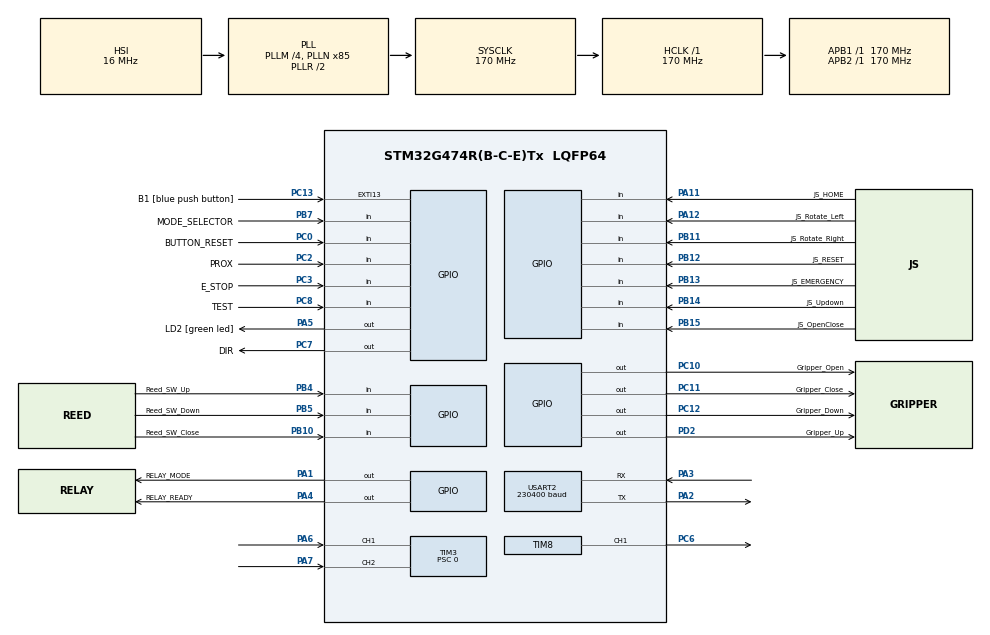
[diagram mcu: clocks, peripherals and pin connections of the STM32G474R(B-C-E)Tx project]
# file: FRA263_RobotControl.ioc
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ARM.CMSIS.5.7.0.CMSISJjCORE=true
ARM.CMSIS.5.7.0.CMSISJjDSP=Library
Dma.Request0=USART2_RX
Dma.Request1=USART2_TX
Dma.USART2_RX.0.Direction=DMA_PERIPH_TO_MEMORY
Dma.USART2_RX.0.EventEnable=DISABLE
Dma.USART2_RX.0.Instance=DMA1_Channel1
Dma.USART2_RX.0.MemDataAlignment=DMA_MDATAALIGN_BYTE
Dma.USART2_RX.0.MemInc=DMA_MINC_ENABLE
Dma.USART2_RX.0.Mode=DMA_NORMAL
Dma.USART2_RX.0.PeriphDataAlignment=DMA_PDATAALIGN_BYTE
Dma.USART2_RX.0.PeriphInc=DMA_PINC_DISABLE
Dma.USART2_RX.0.Polarity=HAL_DMAMUX_REQ_GEN_RISING
Dma.USART2_RX.0.Priority=DMA_PRIORITY_LOW
Dma.USART2_RX.0.RequestNumber=1
Dma.USART2_RX.0.SignalID=NONE
Dma.USART2_RX.0.SyncEnable=DISABLE
Dma.USART2_RX.0.SyncPolarity=HAL_DMAMUX_SYNC_NO_EVENT
Dma.USART2_RX.0.SyncRequestNumber=1
Dma.USART2_RX.0.SyncSignalID=NONE
Dma.USART2_TX.1.Direction=DMA_MEMORY_TO_PERIPH
Dma.USART2_TX.1.EventEnable=DISABLE
Dma.USART2_TX.1.Instance=DMA1_Channel2
Dma.USART2_TX.1.MemDataAlignment=DMA_MDATAALIGN_BYTE
Dma.USART2_TX.1.MemInc=DMA_MINC_ENABLE
Dma.USART2_TX.1.Mode=DMA_NORMAL
Dma.USART2_TX.1.PeriphDataAlignment=DMA_PDATAALIGN_BYTE
Dma.USART2_TX.1.PeriphInc=DMA_PINC_DISABLE
Dma.USART2_TX.1.Polarity=HAL_DMAMUX_REQ_GEN_RISING
Dma.USART2_TX.1.Priority=DMA_PRIORITY_LOW
Dma.USART2_TX.1.RequestNumber=1
Dma.USART2_TX.1.SignalID=NONE
Dma.USART2_TX.1.SyncEnable=DISABLE
Dma.USART2_TX.1.SyncPolarity=HAL_DMAMUX_SYNC_NO_EVENT
Dma.USART2_TX.1.SyncRequestNumber=1
Dma.USART2_TX.1.SyncSignalID=NONE
Mcu.Family=STM32G4
Mcu.Name=STM32G474R(B-C-E)Tx
Mcu.Package=LQFP64
NVIC.DMA1_Channel1_IRQn=true\:0\:0\:false\:false\:true\:false\:true\:true
NVIC.DMA1_Channel2_IRQn=true\:0\:0\:false\:false\:true\:false\:true\:true
NVIC.EXTI15_10_IRQn=true\:0\:0\:false\:false\:true\:true\:true\:true
NVIC.PriorityGroup=NVIC_PRIORITYGROUP_4
NVIC.TIM1_BRK_TIM15_IRQn=true\:0\:0\:false\:false\:true\:true\:true\:true
NVIC.TIM1_TRG_COM_TIM17_IRQn=true\:0\:0\:false\:false\:true\:true\:true\:true
NVIC.TIM1_UP_TIM16_IRQn=true\:0\:0\:false\:false\:true\:true\:true\:true
NVIC.TIM6_DAC_IRQn=true\:0\:0\:false\:false\:true\:true\:true\:true
NVIC.TIM7_DAC_IRQn=true\:0\:0\:false\:false\:true\:true\:true\:true
NVIC.USART2_IRQn=true\:0\:0\:false\:false\:true\:true\:true\:true
PA1.GPIO_Label=RELAY_MODE
PA1.Signal=GPIO_Output
PA11.GPIO_Label=JS_HOME
PA11.GPIO_PuPd=GPIO_PULLUP
PA11.Signal=GPIO_Input
PA12.GPIO_Label=JS_Rotate_Left
PA12.GPIO_PuPd=GPIO_PULLUP
PA12.Signal=GPIO_Input
PA13.GPIO_Label=T_SWDIO
PA13.Mode=Trace_Asynchronous_SW
PA13.Signal=SYS_JTMS-SWDIO
PA14.GPIO_Label=T_SWCLK
PA14.Mode=Trace_Asynchronous_SW
PA14.Signal=SYS_JTCK-SWCLK
PA2.Mode=Asynchronous
PA2.Signal=USART2_TX
PA3.Mode=Asynchronous
PA3.Signal=USART2_RX
PA4.GPIO_Label=RELAY_READY
PA4.Signal=GPIO_Output
PA5.GPIO_Label=LD2 [green led]
PA5.Signal=GPIO_Output
PA6.Signal=S_TIM3_CH1
PA7.Signal=S_TIM3_CH2
PB10.GPIO_Label=Reed_SW_Close
PB10.GPIO_PuPd=GPIO_PULLDOWN
PB10.Signal=GPIO_Input
PB11.GPIO_Label=JS_Rotate_Right
PB11.GPIO_PuPd=GPIO_PULLUP
PB11.Signal=GPIO_Input
PB12.GPIO_Label=JS_RESET
PB12.GPIO_PuPd=GPIO_PULLUP
PB12.Signal=GPIO_Input
PB13.GPIO_Label=JS_EMERGENCY
PB13.GPIO_PuPd=GPIO_PULLUP
PB13.Signal=GPIO_Input
PB14.GPIO_Label=JS_Updown
PB14.GPIO_PuPd=GPIO_PULLUP
PB14.Signal=GPIO_Input
PB15.GPIO_Label=JS_OpenClose
PB15.GPIO_PuPd=GPIO_PULLUP
PB15.Signal=GPIO_Input
PB3.Mode=Trace_Asynchronous_SW
PB3.Signal=SYS_JTDO-SWO
PB4.GPIO_Label=Reed_SW_Up
PB4.GPIO_PuPd=GPIO_PULLDOWN
PB4.Signal=GPIO_Input
PB5.GPIO_Label=Reed_SW_Down
PB5.GPIO_PuPd=GPIO_PULLDOWN
PB5.Signal=GPIO_Input
PB7.GPIO_Label=MODE_SELECTOR
PB7.GPIO_PuPd=GPIO_PULLUP
PB7.Signal=GPIO_Input
PC0.GPIO_Label=BUTTON_RESET
PC0.GPIO_PuPd=GPIO_PULLUP
PC0.Signal=GPIO_Input
PC10.GPIO_Label=Gripper_Open
PC10.Signal=GPIO_Output
PC11.GPIO_Label=Gripper_Close
PC11.Signal=GPIO_Output
PC12.GPIO_Label=Gripper_Down
PC12.Signal=GPIO_Output
PC13.GPIO_Label=B1 [blue push button]
PC13.Signal=GPXTI13
PC14-OSC32_IN.GPIO_Label=RCC_OSC32_IN
PC14-OSC32_IN.Signal=RCC_OSC32_IN
PC15-OSC32_OUT.GPIO_Label=RCC_OSC32_OUT
PC15-OSC32_OUT.Signal=RCC_OSC32_OUT
PC2.GPIO_Label=PROX
PC2.GPIO_PuPd=GPIO_PULLUP
PC2.Signal=GPIO_Input
PC3.GPIO_Label=E_STOP
PC3.GPIO_PuPd=GPIO_PULLUP
PC3.Signal=GPIO_Input
PC6.Signal=S_TIM8_CH1
PC7.GPIO_Label=DIR
PC7.Signal=GPIO_Output
PC8.GPIO_Label=TEST
PC8.GPIO_PuPd=GPIO_NOPULL
PC8.Signal=GPIO_Input
PD2.GPIO_Label=Gripper_Up
PD2.Signal=GPIO_Output
PF0-OSC_IN.GPIO_Label=RCC_OSC_IN
PF0-OSC_IN.Signal=RCC_OSC_IN
PF1-OSC_OUT.GPIO_Label=RCC_OSC_OUT
PF1-OSC_OUT.Signal=RCC_OSC_OUT
ProjectManager.HeapSize=0x200
ProjectManager.StackSize=0x400
ProjectManager.TargetToolchain=STM32CubeIDE
RCC.ADC12Freq_Value=170000000
RCC.ADC345Freq_Value=170000000
RCC.AHBFreq_Value=170000000
RCC.APB1Freq_Value=170000000
RCC.APB1TimFreq_Value=170000000
RCC.APB2Freq_Value=170000000
RCC.APB2TimFreq_Value=170000000
RCC.CortexFreq_Value=170000000
RCC.EXTERNAL_CLOCK_VALUE=12288000
RCC.HCLKFreq_Value=170000000
RCC.HSE_VALUE=24000000
RCC.HSI48_VALUE=48000000
RCC.HSI_VALUE=16000000
RCC.LSE_VALUE=32768
RCC.PLLM=RCC_PLLM_DIV4
RCC.PLLN=85
RCC.RTCClockSelection=RCC_RTCCLKSOURCE_LSE
RCC.SYSCLKFreq_VALUE=170000000
RCC.SYSCLKSource=RCC_SYSCLKSOURCE_PLLCLK
RCC.USBFreq_Value=170000000
RCC.VCOOutputFreq_Value=340000000
SH.S_TIM3_CH1.0=TIM3_CH1,Encoder_Interface
SH.S_TIM3_CH2.0=TIM3_CH2,Encoder_Interface
SH.S_TIM8_CH1.0=TIM8_CH1,PWM Generation1 CH1
TIM15.PeriodNoDither=999
TIM15.Prescaler=169
TIM16.PeriodNoDither=399
TIM16.Prescaler=169
TIM17.PeriodNoDither=199
TIM17.Prescaler=169
TIM3.EncoderMode=TIM_ENCODERMODE_TI12
TIM3.PeriodNoDither=57343
TIM3.Prescaler=0
TIM6.PeriodNoDither=3999
TIM6.Prescaler=169
TIM7.PeriodNoDither=1145
TIM7.Prescaler=169
TIM8.Channel-PWM\ Generation1\ CH1=TIM_CHANNEL_1
TIM8.Prescaler=0
USART2.BaudRate=230400
USART2.Parity=PARITY_EVEN
USART2.VirtualMode-Asynchronous=VM_ASYNC
USART2.WordLength=WORDLENGTH_9B
VP_ARM.CMSIS_VS_CMSISJjCORE_5.4.0_5.7.0.Mode=CMSISJjCORE
VP_ARM.CMSIS_VS_CMSISJjDSP_1.8.0_5.7.0.Mode=CMSISJjDSP
VP_SYS_VS_DBSignals.Mode=DisableDeadBatterySignals
VP_TIM15_VS_ClockSourceINT.Mode=Internal
VP_TIM16_VS_ClockSourceINT.Mode=Enable_Timer
VP_TIM17_VS_ClockSourceINT.Mode=Enable_Timer
VP_TIM6_VS_ClockSourceINT.Mode=Enable_Timer
VP_TIM7_VS_ClockSourceINT.Mode=Enable_Timer
VP_TIM7_VS_OPM.Mode=OPM_bit
VP_TIM8_VS_ClockSourceINT.Mode=Internal
board=NUCLEO-G474RE

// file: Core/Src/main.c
/* USER CODE BEGIN Header */
/**
  ******************************************************************************
  * @file           : main.c
  * @brief          : Main program body
  ******************************************************************************
  * @attention
  *
  * Copyright (c) 2026 STMicroelectronics.
  * All rights reserved.
  *
  * This software is licensed under terms that can be found in the LICENSE file
  * in the root directory of this software component.
  * If no LICENSE file comes with this software, it is provided AS-IS.
  *
  ******************************************************************************
  */
/* USER CODE END Header */
#include "main.h"

/* USER CODE BEGIN Includes */
#include "kalman_filter.h"
#include "reference_feedforward.h"
#include "disturbance_feedforward.h"
#include "cascade.h"
#include "quintic_traj.h"
#include "qei.h"
#include "md20a.h"
#include "serial_frame.h"
#include "modbus.h"
#include "User_Interface.h"
#include "gripper.h"
#include "datatype.h"
#include "Init.h"
#include "basesystem_decode.h"
//#include "robot_worker.h"
/* USER CODE END Includes */

TIM_HandleTypeDef htim3;
TIM_HandleTypeDef htim6;
TIM_HandleTypeDef htim7;
TIM_HandleTypeDef htim8;
TIM_HandleTypeDef htim15;
TIM_HandleTypeDef htim16;
TIM_HandleTypeDef htim17;

UART_HandleTypeDef huart2;
DMA_HandleTypeDef hdma_usart2_rx;
DMA_HandleTypeDef hdma_usart2_tx;

/* USER CODE BEGIN PV */
// Add tuninng when gripper state
static int last_state = -1;
refTarget_t REFdata = { 0 };
QEIstruct_t QEIdata = { 0 };
SSErrorstruct_t SSErrordata = {0};
KALMANstruct_t ESTdata = { 0 };
PIDParam_t PIDparam = { .kp_pos = 800,  .ki_pos = 0, .kd_pos = 0, .kp_vel = 1000.0f, .ki_vel = 0.0f, .kd_vel =0 };
SerialFrame_t STLINK_UART_frame;

Robot_t Robot = {
	.Robot_Status = READY,
	.Mode = Mode_IDLE,

	.Automode_data = {
		.PickPlace = { .Number_of_target = 0, .Gripper_Ena = GRIPPER_ENABLE },
		.P2P = { .p2p_value = 0 }
	},

	.Manualmode_data = {
		.gripper_state = idle_gripper_state,
		.gripper_sequence = idle_gripper_sequence,
		.Jog_value = 0
	},

	.Testmode_data = {
		.Testtype = idle_testmode,
		.Performance = { .Speed = 0, .Accel = 0 },
		.Precision = { .Init_pos = 0, .Targ_pos = 0, .repeat = 0 }
	},

	.Feedback_data = {
		.Current_Task = Idle,
		.Emergency = EMERGENCY_DO_NOT_PRESS,
		.Gripper = idle_gripper_state
	},

	.Monitor_data = {
		.QEI = &QEIdata,
		.REF = &REFdata,
		.SSErr = &SSErrordata
	}
};

float V_FF = 0 ;
float PWM_FF = 0 ;
float PWM_PID = 0;
float V_DFFW = 0 ;
float PWM_DFFW = 0 ;

ModbusHandleTypedef hmodbus;
u16u8_t reg[MODBUS_REGISTER_COUNT];
volatile uint32_t uart_rx_count = 0;
volatile uint16_t dbg_rx_tail = 0;
volatile uint8_t dbg_crc_fail = 0;
volatile uint16_t dbg_crc_calc = 0;
volatile uint16_t dbg_crc_recv = 0;
volatile uint8_t dbg_tx_count = 0;
volatile uint8_t dbg_worker_state = 0;
float Timer = 0 ;
int state_machine = 1 ;

typedef struct {
	int Up_out ;
	int Down_out ;
	int Close_out ;
	int Open_out ;
}DebugGripper_t;
DebugGripper_t Debug_Gripper = {0};
typedef struct {
	int Reed_Up ;
	int Reed_Down ;
	int Reed_Close ;
}DebugReedSwitch_t;
DebugReedSwitch_t Debug_ReedSW = {0};
typedef struct {
	float _q_pos ;
	float _q_vel ;
	float _q_load ;
	float _q_i ;
	float _r;
}Kalman_param_t;
Kalman_param_t Kalmanparam = { ._q_pos = 1,
							   ._q_vel = 1e-01,
							   ._q_load = 10,
							   ._q_i = 1e-01,
							   ._r = 1e-20};
float PWM_Out = 0 ;
PIDDebug_t PIDDebug = {0};

/* USER CODE END PV */

void SystemClock_Config(void);
static void MX_GPIO_Init(void);
static void MX_DMA_Init(void);
static void MX_TIM3_Init(void);
static void MX_TIM8_Init(void);
static void MX_TIM6_Init(void);
static void MX_TIM15_Init(void);
static void MX_TIM16_Init(void);
static void MX_TIM17_Init(void);
static void MX_TIM7_Init(void);
static void MX_USART2_UART_Init(void);
/* USER CODE BEGIN PFP */
void Init_Library();
void Init_TIMER();
void IO_Debugger() ;

void UART_Transmit();
void UARTDMAConfig();
void UART_Unpack();

void Quintic_P2P(float _q_start , float _q_final , float _t);
void Quintic_List(int selec);
/* USER CODE END PFP */

int main(void)
{

  /* MCU Configuration--------------------------------------------------------*/

  /* Reset of all peripherals, Initializes the Flash interface and the Systick. */
  HAL_Init();

  /* Configure the system clock */
  SystemClock_Config();

  /* Initialize all configured peripherals */
  MX_GPIO_Init();
  MX_DMA_Init();
  MX_TIM3_Init();
  MX_TIM8_Init();
  MX_TIM6_Init();
  MX_TIM15_Init();
  MX_TIM16_Init();
  MX_TIM17_Init();
  MX_TIM7_Init();
  MX_USART2_UART_Init();
  /* USER CODE BEGIN 2 */
  Init_Library();
  Init_TIMER();
  /* USER CODE END 2 */

  /* Infinite loop */
	while (1) {

    /* USER CODE BEGIN 3 */
		User_Interface_Start();
	}
  /* USER CODE END 3 */
}

void SystemClock_Config(void)
{
  RCC_OscInitTypeDef RCC_OscInitStruct = {0};
  RCC_ClkInitTypeDef RCC_ClkInitStruct = {0};

  /** Configure the main internal regulator output voltage
  */
  HAL_PWREx_ControlVoltageScaling(PWR_REGULATOR_VOLTAGE_SCALE1_BOOST);

  /** Initializes the RCC Oscillators according to the specified parameters
  * in the RCC_OscInitTypeDef structure.
  */
  RCC_OscInitStruct.OscillatorType = RCC_OSCILLATORTYPE_HSI;
  RCC_OscInitStruct.HSIState = RCC_HSI_ON;
  RCC_OscInitStruct.HSICalibrationValue = RCC_HSICALIBRATION_DEFAULT;
  RCC_OscInitStruct.PLL.PLLState = RCC_PLL_ON;
  RCC_OscInitStruct.PLL.PLLSource = RCC_PLLSOURCE_HSI;
  RCC_OscInitStruct.PLL.PLLM = RCC_PLLM_DIV4;
  RCC_OscInitStruct.PLL.PLLN = 85;
  RCC_OscInitStruct.PLL.PLLP = RCC_PLLP_DIV2;
  RCC_OscInitStruct.PLL.PLLQ = RCC_PLLQ_DIV2;
  RCC_OscInitStruct.PLL.PLLR = RCC_PLLR_DIV2;
  if (HAL_RCC_OscConfig(&RCC_OscInitStruct) != HAL_OK)
  {
    Error_Handler();
  }

  /** Initializes the CPU, AHB and APB buses clocks
  */
  RCC_ClkInitStruct.ClockType = RCC_CLOCKTYPE_HCLK|RCC_CLOCKTYPE_SYSCLK
                              |RCC_CLOCKTYPE_PCLK1|RCC_CLOCKTYPE_PCLK2;
  RCC_ClkInitStruct.SYSCLKSource = RCC_SYSCLKSOURCE_PLLCLK;
  RCC_ClkInitStruct.AHBCLKDivider = RCC_SYSCLK_DIV1;
  RCC_ClkInitStruct.APB1CLKDivider = RCC_HCLK_DIV1;
  RCC_ClkInitStruct.APB2CLKDivider = RCC_HCLK_DIV1;

  if (HAL_RCC_ClockConfig(&RCC_ClkInitStruct, FLASH_LATENCY_4) != HAL_OK)
  {
    Error_Handler();
  }
}

static void MX_TIM3_Init(void)
{

  TIM_Encoder_InitTypeDef sConfig = {0};
  TIM_MasterConfigTypeDef sMasterConfig = {0};

  htim3.Instance = TIM3;
  htim3.Init.Prescaler = 0;
  htim3.Init.CounterMode = TIM_COUNTERMODE_UP;
  htim3.Init.Period = 57343;
  htim3.Init.ClockDivision = TIM_CLOCKDIVISION_DIV1;
  htim3.Init.AutoReloadPreload = TIM_AUTORELOAD_PRELOAD_DISABLE;
  sConfig.EncoderMode = TIM_ENCODERMODE_TI12;
  sConfig.IC1Polarity = TIM_ICPOLARITY_RISING;
  sConfig.IC1Selection = TIM_ICSELECTION_DIRECTTI;
  sConfig.IC1Prescaler = TIM_ICPSC_DIV1;
  sConfig.IC1Filter = 0;
  sConfig.IC2Polarity = TIM_ICPOLARITY_RISING;
  sConfig.IC2Selection = TIM_ICSELECTION_DIRECTTI;
  sConfig.IC2Prescaler = TIM_ICPSC_DIV1;
  sConfig.IC2Filter = 0;
  if (HAL_TIM_Encoder_Init(&htim3, &sConfig) != HAL_OK)
  {
    Error_Handler();
  }
  sMasterConfig.MasterOutputTrigger = TIM_TRGO_RESET;
  sMasterConfig.MasterSlaveMode = TIM_MASTERSLAVEMODE_DISABLE;
  if (HAL_TIMEx_MasterConfigSynchronization(&htim3, &sMasterConfig) != HAL_OK)
  {
    Error_Handler();
  }

}

static void MX_TIM6_Init(void)
{

  TIM_MasterConfigTypeDef sMasterConfig = {0};

  htim6.Instance = TIM6;
  htim6.Init.Prescaler = 169;
  htim6.Init.CounterMode = TIM_COUNTERMODE_UP;
  htim6.Init.Period = 3999;
  htim6.Init.AutoReloadPreload = TIM_AUTORELOAD_PRELOAD_DISABLE;
  if (HAL_TIM_Base_Init(&htim6) != HAL_OK)
  {
    Error_Handler();
  }
  sMasterConfig.MasterOutputTrigger = TIM_TRGO_RESET;
  sMasterConfig.MasterSlaveMode = TIM_MASTERSLAVEMODE_DISABLE;
  if (HAL_TIMEx_MasterConfigSynchronization(&htim6, &sMasterConfig) != HAL_OK)
  {
    Error_Handler();
  }

}

static void MX_TIM7_Init(void)
{

  TIM_MasterConfigTypeDef sMasterConfig = {0};

  htim7.Instance = TIM7;
  htim7.Init.Prescaler = 169;
  htim7.Init.CounterMode = TIM_COUNTERMODE_UP;
  htim7.Init.Period = 1145;
  htim7.Init.AutoReloadPreload = TIM_AUTORELOAD_PRELOAD_DISABLE;
  if (HAL_TIM_Base_Init(&htim7) != HAL_OK)
  {
    Error_Handler();
  }
  if (HAL_TIM_OnePulse_Init(&htim7, TIM_OPMODE_SINGLE) != HAL_OK)
  {
    Error_Handler();
  }
  sMasterConfig.MasterOutputTrigger = TIM_TRGO_RESET;
  sMasterConfig.MasterSlaveMode = TIM_MASTERSLAVEMODE_DISABLE;
  if (HAL_TIMEx_MasterConfigSynchronization(&htim7, &sMasterConfig) != HAL_OK)
  {
    Error_Handler();
  }

}

static void MX_TIM8_Init(void)
{

  TIM_ClockConfigTypeDef sClockSourceConfig = {0};
  TIM_MasterConfigTypeDef sMasterConfig = {0};
  TIM_OC_InitTypeDef sConfigOC = {0};
  TIM_BreakDeadTimeConfigTypeDef sBreakDeadTimeConfig = {0};

  htim8.Instance = TIM8;
  htim8.Init.Prescaler = 0;
  htim8.Init.CounterMode = TIM_COUNTERMODE_UP;
  htim8.Init.Period = 65535;
  htim8.Init.ClockDivision = TIM_CLOCKDIVISION_DIV1;
  htim8.Init.RepetitionCounter = 0;
  htim8.Init.AutoReloadPreload = TIM_AUTORELOAD_PRELOAD_DISABLE;
  if (HAL_TIM_Base_Init(&htim8) != HAL_OK)
  {
    Error_Handler();
  }
  sClockSourceConfig.ClockSource = TIM_CLOCKSOURCE_INTERNAL;
  if (HAL_TIM_ConfigClockSource(&htim8, &sClockSourceConfig) != HAL_OK)
  {
    Error_Handler();
  }
  if (HAL_TIM_PWM_Init(&htim8) != HAL_OK)
  {
    Error_Handler();
  }
  sMasterConfig.MasterOutputTrigger = TIM_TRGO_RESET;
  sMasterConfig.MasterOutputTrigger2 = TIM_TRGO2_RESET;
  sMasterConfig.MasterSlaveMode = TIM_MASTERSLAVEMODE_DISABLE;
  if (HAL_TIMEx_MasterConfigSynchronization(&htim8, &sMasterConfig) != HAL_OK)
  {
    Error_Handler();
  }
  sConfigOC.OCMode = TIM_OCMODE_PWM1;
  sConfigOC.Pulse = 0;
  sConfigOC.OCPolarity = TIM_OCPOLARITY_HIGH;
  sConfigOC.OCNPolarity = TIM_OCNPOLARITY_HIGH;
  sConfigOC.OCFastMode = TIM_OCFAST_DISABLE;
  sConfigOC.OCIdleState = TIM_OCIDLESTATE_RESET;
  sConfigOC.OCNIdleState = TIM_OCNIDLESTATE_RESET;
  if (HAL_TIM_PWM_ConfigChannel(&htim8, &sConfigOC, TIM_CHANNEL_1) != HAL_OK)
  {
    Error_Handler();
  }
  sBreakDeadTimeConfig.OffStateRunMode = TIM_OSSR_DISABLE;
  sBreakDeadTimeConfig.OffStateIDLEMode = TIM_OSSI_DISABLE;
  sBreakDeadTimeConfig.LockLevel = TIM_LOCKLEVEL_OFF;
  sBreakDeadTimeConfig.DeadTime = 0;
  sBreakDeadTimeConfig.BreakState = TIM_BREAK_DISABLE;
  sBreakDeadTimeConfig.BreakPolarity = TIM_BREAKPOLARITY_HIGH;
  sBreakDeadTimeConfig.BreakFilter = 0;
  sBreakDeadTimeConfig.BreakAFMode = TIM_BREAK_AFMODE_INPUT;
  sBreakDeadTimeConfig.Break2State = TIM_BREAK2_DISABLE;
  sBreakDeadTimeConfig.Break2Polarity = TIM_BREAK2POLARITY_HIGH;
  sBreakDeadTimeConfig.Break2Filter = 0;
  sBreakDeadTimeConfig.Break2AFMode = TIM_BREAK_AFMODE_INPUT;
  sBreakDeadTimeConfig.AutomaticOutput = TIM_AUTOMATICOUTPUT_DISABLE;
  if (HAL_TIMEx_ConfigBreakDeadTime(&htim8, &sBreakDeadTimeConfig) != HAL_OK)
  {
    Error_Handler();
  }
  HAL_TIM_MspPostInit(&htim8);

}

static void MX_TIM15_Init(void)
{

  TIM_ClockConfigTypeDef sClockSourceConfig = {0};
  TIM_MasterConfigTypeDef sMasterConfig = {0};

  htim15.Instance = TIM15;
  htim15.Init.Prescaler = 169;
  htim15.Init.CounterMode = TIM_COUNTERMODE_UP;
  htim15.Init.Period = 999;
  htim15.Init.ClockDivision = TIM_CLOCKDIVISION_DIV1;
  htim15.Init.RepetitionCounter = 0;
  htim15.Init.AutoReloadPreload = TIM_AUTORELOAD_PRELOAD_DISABLE;
  if (HAL_TIM_Base_Init(&htim15) != HAL_OK)
  {
    Error_Handler();
  }
  sClockSourceConfig.ClockSource = TIM_CLOCKSOURCE_INTERNAL;
  if (HAL_TIM_ConfigClockSource(&htim15, &sClockSourceConfig) != HAL_OK)
  {
    Error_Handler();
  }
  sMasterConfig.MasterOutputTrigger = TIM_TRGO_RESET;
  sMasterConfig.MasterSlaveMode = TIM_MASTERSLAVEMODE_DISABLE;
  if (HAL_TIMEx_MasterConfigSynchronization(&htim15, &sMasterConfig) != HAL_OK)
  {
    Error_Handler();
  }

}

static void MX_TIM16_Init(void)
{

  htim16.Instance = TIM16;
  htim16.Init.Prescaler = 169;
  htim16.Init.CounterMode = TIM_COUNTERMODE_UP;
  htim16.Init.Period = 399;
  htim16.Init.ClockDivision = TIM_CLOCKDIVISION_DIV1;
  htim16.Init.RepetitionCounter = 0;
  htim16.Init.AutoReloadPreload = TIM_AUTORELOAD_PRELOAD_DISABLE;
  if (HAL_TIM_Base_Init(&htim16) != HAL_OK)
  {
    Error_Handler();
  }

}

static void MX_TIM17_Init(void)
{

  htim17.Instance = TIM17;
  htim17.Init.Prescaler = 169;
  htim17.Init.CounterMode = TIM_COUNTERMODE_UP;
  htim17.Init.Period = 199;
  htim17.Init.ClockDivision = TIM_CLOCKDIVISION_DIV1;
  htim17.Init.RepetitionCounter = 0;
  htim17.Init.AutoReloadPreload = TIM_AUTORELOAD_PRELOAD_DISABLE;
  if (HAL_TIM_Base_Init(&htim17) != HAL_OK)
  {
    Error_Handler();
  }

}

static void MX_USART2_UART_Init(void)
{

  huart2.Instance = USART2;
  huart2.Init.BaudRate = 2000000;
  huart2.Init.WordLength = UART_WORDLENGTH_8B;
  huart2.Init.StopBits = UART_STOPBITS_1;
  huart2.Init.Parity = UART_PARITY_NONE;
  huart2.Init.Mode = UART_MODE_TX_RX;
  huart2.Init.HwFlowCtl = UART_HWCONTROL_NONE;
  huart2.Init.OverSampling = UART_OVERSAMPLING_16;
  huart2.Init.OneBitSampling = UART_ONE_BIT_SAMPLE_DISABLE;
  huart2.Init.ClockPrescaler = UART_PRESCALER_DIV1;
  huart2.AdvancedInit.AdvFeatureInit = UART_ADVFEATURE_NO_INIT;
  if (HAL_UART_Init(&huart2) != HAL_OK)
  {
    Error_Handler();
  }
  if (HAL_UARTEx_SetTxFifoThreshold(&huart2, UART_TXFIFO_THRESHOLD_1_8) != HAL_OK)
  {
    Error_Handler();
  }
  if (HAL_UARTEx_SetRxFifoThreshold(&huart2, UART_RXFIFO_THRESHOLD_1_8) != HAL_OK)
  {
    Error_Handler();
  }
  if (HAL_UARTEx_DisableFifoMode(&huart2) != HAL_OK)
  {
    Error_Handler();
  }

}

static void MX_DMA_Init(void)
{

  /* DMA controller clock enable */
  __HAL_RCC_DMAMUX1_CLK_ENABLE();
  __HAL_RCC_DMA1_CLK_ENABLE();

  /* DMA interrupt init */
  /* DMA1_Channel1_IRQn interrupt configuration */
  HAL_NVIC_SetPriority(DMA1_Channel1_IRQn, 0, 0);
  HAL_NVIC_EnableIRQ(DMA1_Channel1_IRQn);
  /* DMA1_Channel2_IRQn interrupt configuration */
  HAL_NVIC_SetPriority(DMA1_Channel2_IRQn, 0, 0);
  HAL_NVIC_EnableIRQ(DMA1_Channel2_IRQn);

}

static void MX_GPIO_Init(void)
{
  GPIO_InitTypeDef GPIO_InitStruct = {0};

  /* GPIO Ports Clock Enable */
  __HAL_RCC_GPIOC_CLK_ENABLE();
  __HAL_RCC_GPIOF_CLK_ENABLE();
  __HAL_RCC_GPIOA_CLK_ENABLE();
  __HAL_RCC_GPIOB_CLK_ENABLE();
  __HAL_RCC_GPIOD_CLK_ENABLE();

  /*Configure GPIO pin Output Level */
  HAL_GPIO_WritePin(GPIOA, RELAY_MODE_Pin|RELAY_READY_Pin|LD2_Pin, GPIO_PIN_RESET);

  /*Configure GPIO pin Output Level */
  HAL_GPIO_WritePin(GPIOC, DIR_Pin|Gripper_Open_Pin|Gripper_Close_Pin|Gripper_Down_Pin, GPIO_PIN_RESET);

  /*Configure GPIO pin Output Level */
  HAL_GPIO_WritePin(Gripper_Up_GPIO_Port, Gripper_Up_Pin, GPIO_PIN_RESET);

  /*Configure GPIO pin : B1_Pin */
  GPIO_InitStruct.Pin = B1_Pin;
  GPIO_InitStruct.Mode = GPIO_MODE_IT_RISING;
  GPIO_InitStruct.Pull = GPIO_NOPULL;
  HAL_GPIO_Init(B1_GPIO_Port, &GPIO_InitStruct);

  /*Configure GPIO pins : BUTTON_RESET_Pin PROX_Pin E_STOP_Pin */
  GPIO_InitStruct.Pin = BUTTON_RESET_Pin|PROX_Pin|E_STOP_Pin;
  GPIO_InitStruct.Mode = GPIO_MODE_INPUT;
  GPIO_InitStruct.Pull = GPIO_PULLUP;
  HAL_GPIO_Init(GPIOC, &GPIO_InitStruct);

  /*Configure GPIO pins : RELAY_MODE_Pin RELAY_READY_Pin LD2_Pin */
  GPIO_InitStruct.Pin = RELAY_MODE_Pin|RELAY_READY_Pin|LD2_Pin;
  GPIO_InitStruct.Mode = GPIO_MODE_OUTPUT_PP;
  GPIO_InitStruct.Pull = GPIO_NOPULL;
  GPIO_InitStruct.Speed = GPIO_SPEED_FREQ_LOW;
  HAL_GPIO_Init(GPIOA, &GPIO_InitStruct);

  /*Configure GPIO pins : Reed_SW_Close_Pin Reed_SW_Up_Pin Reed_SW_Down_Pin */
  GPIO_InitStruct.Pin = Reed_SW_Close_Pin|Reed_SW_Up_Pin|Reed_SW_Down_Pin;
  GPIO_InitStruct.Mode = GPIO_MODE_INPUT;
  GPIO_InitStruct.Pull = GPIO_PULLDOWN;
  HAL_GPIO_Init(GPIOB, &GPIO_InitStruct);

  /*Configure GPIO pins : JS_Rotate_Right_Pin JS_RESET_Pin JS_Updown_Pin JS_OpenClose_Pin
                           MODE_SELECTOR_Pin */
  GPIO_InitStruct.Pin = JS_Rotate_Right_Pin|JS_RESET_Pin|JS_Updown_Pin|JS_OpenClose_Pin
                          |MODE_SELECTOR_Pin;
  GPIO_InitStruct.Mode = GPIO_MODE_INPUT;
  GPIO_InitStruct.Pull = GPIO_PULLUP;
  HAL_GPIO_Init(GPIOB, &GPIO_InitStruct);

  /*Configure GPIO pin : JS_EMERGENCY_Pin */
  GPIO_InitStruct.Pin = JS_EMERGENCY_Pin;
  GPIO_InitStruct.Mode = GPIO_MODE_INPUT;
  GPIO_InitStruct.Pull = GPIO_NOPULL;
  HAL_GPIO_Init(JS_EMERGENCY_GPIO_Port, &GPIO_InitStruct);

  /*Configure GPIO pins : DIR_Pin Gripper_Open_Pin Gripper_Close_Pin Gripper_Down_Pin */
  GPIO_InitStruct.Pin = DIR_Pin|Gripper_Open_Pin|Gripper_Close_Pin|Gripper_Down_Pin;
  GPIO_InitStruct.Mode = GPIO_MODE_OUTPUT_PP;
  GPIO_InitStruct.Pull = GPIO_NOPULL;
  GPIO_InitStruct.Speed = GPIO_SPEED_FREQ_LOW;
  HAL_GPIO_Init(GPIOC, &GPIO_InitStruct);

  /*Configure GPIO pin : TEST_Pin */
  GPIO_InitStruct.Pin = TEST_Pin;
  GPIO_InitStruct.Mode = GPIO_MODE_INPUT;
  GPIO_InitStruct.Pull = GPIO_NOPULL;
  HAL_GPIO_Init(TEST_GPIO_Port, &GPIO_InitStruct);

  /*Configure GPIO pins : JS_HOME_Pin JS_Rotate_Left_Pin */
  GPIO_InitStruct.Pin = JS_HOME_Pin|JS_Rotate_Left_Pin;
  GPIO_InitStruct.Mode = GPIO_MODE_INPUT;
  GPIO_InitStruct.Pull = GPIO_PULLUP;
  HAL_GPIO_Init(GPIOA, &GPIO_InitStruct);

  /*Configure GPIO pin : Gripper_Up_Pin */
  GPIO_InitStruct.Pin = Gripper_Up_Pin;
  GPIO_InitStruct.Mode = GPIO_MODE_OUTPUT_PP;
  GPIO_InitStruct.Pull = GPIO_NOPULL;
  GPIO_InitStruct.Speed = GPIO_SPEED_FREQ_LOW;
  HAL_GPIO_Init(Gripper_Up_GPIO_Port, &GPIO_InitStruct);

  /* EXTI interrupt init*/
  HAL_NVIC_SetPriority(EXTI15_10_IRQn, 0, 0);
  HAL_NVIC_EnableIRQ(EXTI15_10_IRQn);

}

/* USER CODE BEGIN 4 */
void UART_Transmit(){
	float est_q_deg  = RadianToDegree(ESTdata.q_est);

	SerialFrame_AddPayload(&STLINK_UART_frame, &QEIdata.q_deg, sizeof(float));
	SerialFrame_AddPayload(&STLINK_UART_frame, &QEIdata.qd, sizeof(float));
	SerialFrame_AddPayload(&STLINK_UART_frame, &est_q_deg, sizeof(float));
	SerialFrame_AddPayload(&STLINK_UART_frame, &ESTdata.qd_est, sizeof(float));
	SerialFrame_AddPayload(&STLINK_UART_frame, &REFdata.ref_q_deg, sizeof(float));
	SerialFrame_AddPayload(&STLINK_UART_frame, &REFdata.ref_qd, sizeof(float));
	SerialFrame_AddPayload(&STLINK_UART_frame, &Timer, sizeof(float));

	SerialFrame_AddPayload(&STLINK_UART_frame, &PIDDebug.pid_pos, sizeof(float));
	SerialFrame_AddPayload(&STLINK_UART_frame, &PIDDebug.p_pos, sizeof(float));
	SerialFrame_AddPayload(&STLINK_UART_frame, &PIDDebug.i_pos, sizeof(float));
	SerialFrame_AddPayload(&STLINK_UART_frame, &PIDDebug.d_pos, sizeof(float));
	SerialFrame_AddPayload(&STLINK_UART_frame, &PIDDebug.pid_vel, sizeof(float));
	SerialFrame_AddPayload(&STLINK_UART_frame, &PIDDebug.p_vel, sizeof(float));
	SerialFrame_AddPayload(&STLINK_UART_frame, &PIDDebug.i_vel, sizeof(float));
	SerialFrame_AddPayload(&STLINK_UART_frame, &PIDDebug.d_vel, sizeof(float));
	SerialFrame_AddPayload(&STLINK_UART_frame, &PIDDebug.friction_ffw, sizeof(float));
	SerialFrame_AddPayload(&STLINK_UART_frame, &PWM_FF, sizeof(float));
	SerialFrame_AddPayload(&STLINK_UART_frame, &PWM_DFFW, sizeof(float));

	SerialFrame_Transmit(&STLINK_UART_frame); // 2Header + 2Single
}

void HAL_UARTEx_RxEventCallback(UART_HandleTypeDef *huart, uint16_t Size) {
	uart_rx_count++;
	dbg_rx_tail = Size;
	if (Size == 0)
		return;
	hmodbus.modbusUartStructure.RxTail = Size;
	hmodbus.Flag_T15TimeOut = 1;
}

void HAL_TIM_PeriodElapsedCallback(TIM_HandleTypeDef *htim) {
	if (htim == &POS_CTRL_TIM) {

		// Robot Worker
		// Robot_Worker();
		 UART_Transmit();

		if (reg[REG_HEARTBEAT].U16 == HEARTBEAT_PC) {
			reg[REG_HEARTBEAT].U16 = HEARTBEAT_ROBOT;
		}

		// Pos Control
		Pos_ctrl_Tunning(PIDparam.kp_pos, PIDparam.ki_pos ,PIDparam.kd_pos);
		Pos_ctrl_Compute(DegreeToRadian(REFdata.ref_q_deg), ESTdata.q_est);
	}

	if (htim == &VEL_CTRL_TIM) {
		// Vel Control
		Vel_ctrl_Tunning(PIDparam.kp_vel, PIDparam.ki_vel, PIDparam.kd_vel);
		Vel_ctrl_Compute(REFdata.ref_qd , ESTdata.qd_est,&PWM_PID);

		if (fabsf(REFdata.ref_qd) < 0.01f) {
			Motor_Ref_feedforward_Init();
		}
		// Disturbance FFW
		Motor_Disturbance_feedforward_Update(ESTdata.load_est,&V_DFFW);
		PWM_DFFW = V_DFFW * (65535.0f / 24.0f);
		// Refference FFW
		Motor_Ref_feedforward_Update(REFdata.ref_qd,&V_FF);
		PWM_FF = V_FF * (65535.0f / 24.0f * 0.8f);

		// PWM Output
		MD20A_Control(PWM_FF+PWM_PID);
		PWM_Out = PWM_FF + PWM_PID;

	}

	if (htim == &QEI_UPDATE_TIM) {
		// Quintic list
		Quintic_List(2);
		// Global Timer
		Timer += 0.0002 ;
		// QEI
		Motor_Kalman_Tunning(Kalmanparam._q_pos, Kalmanparam._q_vel, Kalmanparam._q_load, Kalmanparam._q_i, Kalmanparam._r);
		QEI_Update();
		// Kalman
		Motor_Kalman_Update(V_FF, QEIdata.q, &ESTdata.q_est, &ESTdata.qd_est, &ESTdata.load_est, &ESTdata.i_est);
		// Monitor Steady state Error
		SSErrordata.q_ss = REFdata.ref_q - QEIdata.q ;
		SSErrordata.qd_ss = REFdata.ref_qd - QEIdata.qd ;
		SSErrordata.qd_deg_ss = RadianToDegree(SSErrordata.q_ss);
		// Monitor (Can delete use this for monitor only)
		REFdata.ref_q_index = RadianToIndex(REFdata.ref_q);
		REFdata.ref_q_deg = RadianToDegree(REFdata.ref_q);
	}
}

void HAL_UART_RxCpltCallback(UART_HandleTypeDef *huart) {
	if (huart == &STLINK_UART) {
		// UART_Unpack();
	}
}

void Quintic_P2P(float _q_start, float _q_final, float _t) {
    if (state_machine != last_state) {
        QuinticTraj_Init(_q_start, _q_final, _t);
        last_state = state_machine;
    }
    QuinticTraj_Compute(Timer, &REFdata.ref_q, &REFdata.ref_qd, &REFdata.ref_qdd);

    if (Timer >= _t) {
        Timer = 0;
        state_machine++;
    }
}

void Quintic_List(int selec) {
	float t_slow = 3.25f;
	float t_fast = 1.3f;
	float t_break = 2.0f ;
	float tar_q = 180.0f;

	float g = 5.0f ;

	float p1 = 35;
	float p2 = -20*g ;
	float p3 = -10*g ;
	float p4 = 15*g ;
	float p5 = 55*g ;
	float p6 = 72*g ;
	float p7 = 36*g ;
	float p8 = 0*g ;

	// Rotate
	if (selec == 1){
		if (state_machine == 1){
			Quintic_P2P(0,360,t_slow);
		} else if (state_machine == 2) {
			Quintic_P2P(360,360,t_break);
		} else if (state_machine == 3) {
			Quintic_P2P(360,0,t_fast);

		} else if (state_machine == 4) {
			Quintic_P2P(0,0,t_break);
		} else if (state_machine == 5) {
			Quintic_P2P(0,270,t_slow);
		} else if (state_machine == 6) {
			Quintic_P2P(270,270,t_break);
		} else if (state_machine == 7) {
			Quintic_P2P(270,0,t_fast);
		}

		else if (state_machine == 8) {
			Quintic_P2P(0, 0, t_break);
		} else if (state_machine == 9) {
			Quintic_P2P(0, 180, t_slow);
		} else if (state_machine == 10) {
			Quintic_P2P(180, 180, t_break);
		} else if (state_machine == 11) {
			Quintic_P2P(180, 0, t_fast);
		}

		else if (state_machine == 12) {
			Quintic_P2P(0, 0, t_break);
		} else if (state_machine == 13) {
			Quintic_P2P(0, 90, t_slow);
		} else if (state_machine == 14) {
			Quintic_P2P(90, 90, t_break);
		} else if (state_machine == 15) {
			Quintic_P2P(90, 0, t_fast);
		}
	}

	// Rotate with Pick Place
	if (selec == 2) {
	    if (state_machine == 1) {
	        Quintic_P2P(0, p1, t_fast);
	    }
	    if (state_machine == 2) {
	        Quintic_P2P(p1, p1, t_break);
	    }
	    if (state_machine == 3) {
	        Quintic_P2P(p1, p2, t_slow);
	    }
	    if (state_machine == 4) {
	        Quintic_P2P(p2, p2, t_break);
	    }
	    if (state_machine == 5) {
	        Quintic_P2P(p2, p3, t_fast);
	    }
	    if (state_machine == 6) {
	        Quintic_P2P(p3, p3, t_break);
	    }
	    if (state_machine == 7) {
	        Quintic_P2P(p3, p4, t_slow);
	    }
	    if (state_machine == 8) {
	        Quintic_P2P(p4, p4, t_break);
	    }
	    if (state_machine == 9) {
	        Quintic_P2P(p4, p5, t_fast);
	    }
	    if (state_machine == 10) {
	        Quintic_P2P(p5, p5, t_break);
	    }
	    if (state_machine == 11) {
	        Quintic_P2P(p5, p6, t_slow);
	    }
	    if (state_machine == 12) {
	        Quintic_P2P(p6, p6, t_break);
	    }
	    if (state_machine == 13) {
	        Quintic_P2P(p6, p7, t_fast);
	    }
	    if (state_machine == 14) {
	        Quintic_P2P(p7, p7, t_break);
	    }
	    if (state_machine == 15) {
	        Quintic_P2P(p7, p8, t_slow);
	    }
	    if (state_machine == 16) {
	        Quintic_P2P(p8, p8, t_break);
	    }
	    if (state_machine == 17) {
	        state_machine = 19;
	    }
	}

	if (selec == 3) {
		if (state_machine == 1 && state_machine != last_state) {
			PID_LUT_Apply(fabsf(tar_q - 0), t_slow);   // 360 deg, slow
		}
		if (state_machine == 1) {
			Quintic_P2P(0, tar_q, t_slow);
		}

		if (state_machine == 2 && state_machine != last_state) {
			PID_LUT_Apply(fabsf(tar_q - tar_q), t_break); // 0 deg, break
		}
		if (state_machine == 2) {
			Quintic_P2P(tar_q, tar_q, t_break);
		}

		if (state_machine == 3 && state_machine != last_state) {
			PID_LUT_Apply(fabsf(0 - tar_q), t_slow);   // 360 deg, slow
		}
		if (state_machine == 3) {
			Quintic_P2P(tar_q, 0, t_slow);
		}

		if (state_machine == 4 && state_machine != last_state) {
			PID_LUT_Apply(fabsf(0 - 0), t_break);      // 0 deg, break
		}
		if (state_machine == 4) {
			Quintic_P2P(0, 0, t_break);
		}

		if (state_machine == 5) {
			state_machine = 1;
		}
	}
}

void IO_Debugger(){
	Debug_Gripper.Up_out = HAL_GPIO_ReadPin(Gripper_Up_GPIO_Port, Gripper_Up_Pin);
	Debug_Gripper.Down_out = HAL_GPIO_ReadPin(Gripper_Down_GPIO_Port, Gripper_Down_Pin);
	Debug_Gripper.Close_out = HAL_GPIO_ReadPin(Gripper_Close_GPIO_Port, Gripper_Close_Pin);
	Debug_Gripper.Open_out = HAL_GPIO_ReadPin(Gripper_Open_GPIO_Port, Gripper_Open_Pin);
	Debug_ReedSW.Reed_Close = HAL_GPIO_ReadPin(Reed_SW_Close_GPIO_Port, Reed_SW_Close_Pin);
	Debug_ReedSW.Reed_Down = HAL_GPIO_ReadPin(Reed_SW_Down_GPIO_Port, Reed_SW_Down_Pin);
	Debug_ReedSW.Reed_Up = HAL_GPIO_ReadPin(Reed_SW_Up_GPIO_Port, Reed_SW_Up_Pin);
}
// ======================================================================= //
/* USER CODE END 4 */

void Error_Handler(void)
{
  __disable_irq();
  while (1)
  {
  }
}
